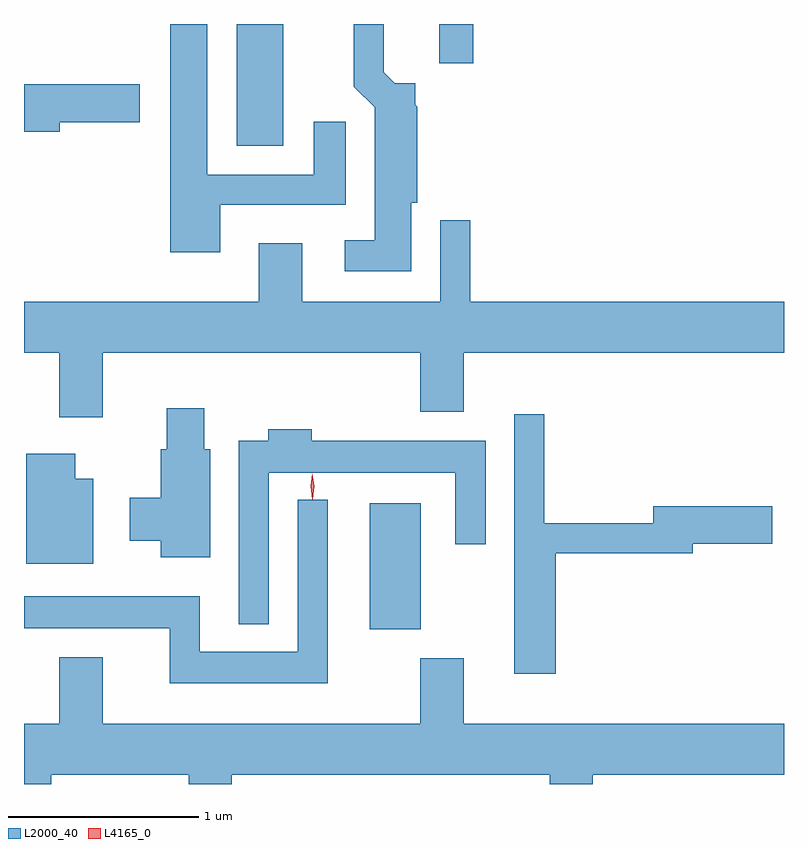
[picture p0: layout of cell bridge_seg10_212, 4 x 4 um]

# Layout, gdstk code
import gdstk
lib = gdstk.Library(unit=1e-6, precision=1e-09)
def R(c, l, rs):  # rectangles x0, y0, x1, y1
    for r in rs: c.add(gdstk.rectangle(r[:2], r[2:], *l))
def P(c, l, *ps):  # polygons
    for p in ps: c.add(gdstk.Polygon(p, *l))
L2000_40 = (2000, 40)
L4165_0 = (4165, 0)

bridge_seg10_212 = lib.new_cell('bridge_seg10_212')
R(bridge_seg10_212, L2000_40, [(1762.966,2092.481,1763.234,2093.144), (1762.266,2095.026,1762.509,2095.667), (1763.331,2095.461,1763.509,2095.667)])
P(bridge_seg10_212, L2000_40, [(1762.179,2094.716),(1762.839,2094.716),(1762.839,2095.153),(1762.671,2095.153),(1762.671,2094.874),(1762.109,2094.874),(1762.109,2095.667),(1761.916,2095.667),(1761.916,2094.466),(1762.179,2094.466)],
  [(1763.184,2094.726),(1763.214,2094.726),(1763.214,2095.231),(1763.204,2095.241),(1763.204,2095.354),(1763.097,2095.354),(1763.039,2095.412),(1763.039,2095.667),(1762.881,2095.667),(1762.881,2095.338),(1762.991,2095.229),(1762.991,2094.529),(1762.833,2094.529),(1762.833,2094.366),(1763.184,2094.366)],
  [(1761.334,2095.151),(1761.754,2095.151),(1761.754,2095.349),(1761.145,2095.349),(1761.145,2095.101),(1761.334,2095.101)],
  [(1761.559,2093.936),(1763.231,2093.936),(1763.231,2093.626),(1763.459,2093.626),(1763.459,2093.936),(1765.145,2093.936),(1765.145,2094.204),(1763.494,2094.204),(1763.494,2094.633),(1763.336,2094.633),(1763.336,2094.204),(1762.609,2094.204),(1762.609,2094.514),(1762.381,2094.514),(1762.381,2094.204),(1761.145,2094.204),(1761.145,2093.936),(1761.331,2093.936),(1761.331,2093.596),(1761.559,2093.596)],
  [(1762.124,2093.429),(1762.094,2093.429),(1762.094,2093.644),(1761.896,2093.644),(1761.896,2093.429),(1761.866,2093.429),(1761.866,2093.174),(1761.701,2093.174),(1761.701,2092.946),(1761.866,2092.946),(1761.866,2092.861),(1762.124,2092.861)],
  [(1763.944,2092.881),(1764.664,2092.881),(1764.664,2092.931),(1765.084,2092.931),(1765.084,2093.129),(1764.456,2093.129),(1764.456,2093.039),(1763.884,2093.039),(1763.884,2093.613),(1763.726,2093.613),(1763.726,2092.246),(1763.944,2092.246)],
  [(1762.434,2093.306),(1763.416,2093.306),(1763.416,2092.928),(1763.574,2092.928),(1763.574,2093.474),(1762.659,2093.474),(1762.659,2093.534),(1762.431,2093.534),(1762.431,2093.474),(1762.276,2093.474),(1762.276,2092.508),(1762.434,2092.508)],
  [(1761.509,2093.274),(1761.414,2093.274),(1761.414,2093.404),(1761.156,2093.404),(1761.156,2092.826),(1761.509,2092.826)],
  [(1762.744,2093.163),(1762.586,2093.163),(1762.586,2092.364),(1762.069,2092.364),(1762.069,2092.654),(1761.145,2092.654),(1761.145,2092.486),(1761.911,2092.486),(1761.911,2092.196),(1762.744,2092.196)],
  [(1761.289,2091.716),(1762.011,2091.716),(1762.011,2091.667),(1762.239,2091.667),(1762.239,2091.716),(1763.911,2091.716),(1763.911,2091.667),(1764.139,2091.667),(1764.139,2091.716),(1765.145,2091.716),(1765.145,2091.984),(1763.459,2091.984),(1763.459,2092.329),(1763.231,2092.329),(1763.231,2091.984),(1761.559,2091.984),(1761.559,2092.334),(1761.331,2092.334),(1761.331,2091.984),(1761.145,2091.984),(1761.145,2091.667),(1761.289,2091.667)])
P(bridge_seg10_212, L4165_0, [(1762.663,2093.167),(1762.663,2093.167),(1762.653,2093.234),(1762.662,2093.3),(1762.663,2093.3),(1762.663,2093.3),(1762.673,2093.234),(1762.664,2093.167)])

lib.write_gds('bridge_seg10_212.gds')
